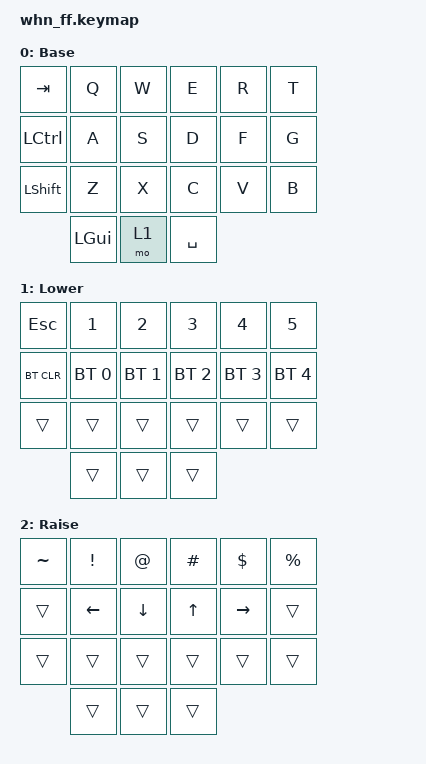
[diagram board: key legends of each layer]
/*
 * SuperMini NRF52840 键盘映射
 * 左半部分 - 4行6列
 */

#include <behaviors.dtsi>
#include <dt-bindings/zmk/keys.h>
#include <dt-bindings/zmk/bt.h>

/ {
    keymap {
        compatible = "zmk,keymap";

        default_layer {
            display-name = "Base";
            bindings = <
                // 第1行
                &kp TAB   &kp Q &kp W &kp E &kp R &kp T
                // 第2行
                &kp LCTRL &kp A &kp S &kp D &kp F &kp G
                // 第3行
                &kp LSHFT &kp Z &kp X &kp C &kp V &kp B
                // 第4行（3个拇指键）
                          &kp LGUI &mo 1 &kp SPACE
            >;
        };

        lower_layer {
            display-name = "Lower";
            bindings = <
                // 第1行 - 数字键
                &kp ESC  &kp N1 &kp N2 &kp N3 &kp N4 &kp N5
                // 第2行 - 蓝牙控制
                &bt BT_CLR &bt BT_SEL 0 &bt BT_SEL 1 &bt BT_SEL 2 &bt BT_SEL 3 &bt BT_SEL 4
                // 第3行
                &trans   &trans &trans &trans &trans &trans
                // 第4行
                          &trans &trans &trans
            >;
        };

        raise_layer {
            display-name = "Raise";
            bindings = <
                // 第1行 - 符号
                &kp TILDE &kp EXCL &kp AT &kp HASH &kp DLLR &kp PRCNT
                // 第2行 - 方向键
                &trans    &kp LEFT &kp DOWN &kp UP &kp RIGHT &trans
                // 第3行
                &trans    &trans &trans &trans &trans &trans
                // 第4行
                          &trans &trans &trans
            >;
        };
    };
};
